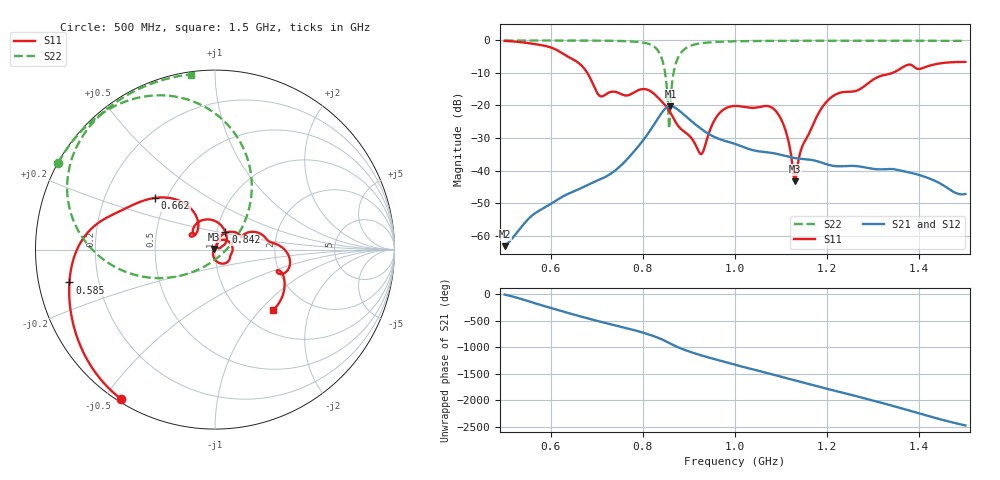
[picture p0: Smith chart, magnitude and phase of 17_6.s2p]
! TOUCHSTONE file generated by CST MICROWAVE STUDIO
! Date and time: Sat Oct 24 11:46:18 2020
! Project name: Scenario_1_Circular_Tissue_out_of_Line.cst
! Parameters = {dy1=-68.544; L_HA=400; MT=2.54; Rad_Dielectric=30; Rad_Lower=7.3; Rad_Upper=30; a_HA=580; a_WG=246; b_HA=500; b_WG=121; c_HA=0; c_WG=187; d_feed=85; dx1=1039; h_feed=15; h_lower=18; h_upper=40}
! Header version: 2018
! Port assignment regex: !\s*Touchstone port\s*([0-9]+)\s*=\s*(CST MWS port|CST DS port)\s*([0-9]+|Zmin|Zmax)\s*\(\"(.*)\"\)(\s*mode\s*([0-9]+))?.*
! Touchstone port assignment:
! Touchstone port 1 = CST MWS port 1 ("")
! Touchstone port 2 = CST MWS port 2 ("")
# GHz S DB R 50
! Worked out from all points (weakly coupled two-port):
!   1001 points, 500 MHz to 1.5 GHz, reference 50 ohm
!   highest |S21| = -20.25 dB at 860 MHz (marker M1); lowest = -63.2 dB at 500 MHz (marker M2)
!   lowest |S11| = -43.3 dB at 1.13 GHz (marker M3), VSWR 1.01, Z = 49.4 + j0.284 ohm
!   |S11| at or under -10 dB: 679.5 MHz to 1.341 GHz (661.9 MHz wide, 65.5 % of centre)
!   |S22| runs from -27.1 to 0.0 dB; largest |S21 - S12| = 1.1e-05
!   S11 on the Smith chart (normalised r, x): 500 MHz: 0.01, -0.55; 585 MHz: 0.09, -0.11; 662 MHz: 0.43, +0.31; 842 MHz: 1.10, +0.22; 1.5 GHz: 1.37, -1.18
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0.5  -0.15 -122.2  -63.24 -2.6  -63.24 -2.6  -0.01 151.1
0.585  -1.60 -167.3  -51.51 142.2  -51.51 142.3  -0.02 145.2
0.662  -7.10 139.3  -45.67 -49.8  -45.67 -49.8  -0.04 138.8
0.667  -7.74 134.9  -45.33 -61.5  -45.33 -61.6  -0.04 138.3
0.708  -17.17 138.2  -42.70 -156.4  -42.70 -156.4  -0.07 133.8
0.789  -15.36 134.4  -32.76 25.8  -32.76 25.8  -0.45 117.2
0.834  -17.72 70.0  -23.70 -103.2  -23.70 -103.2  -3.39 82.2
0.842  -18.91 59.4  -22.04 -133.7  -22.04 -133.7  -5.96 67.6
0.855  -21.11 41.8  -20.38 170.2  -20.38 170.2  -21.13 15.6
0.86  -22.23 35.3  -20.25 148.1  -20.25 148.1  -19.10 -121.9
0.868  -24.32 28.2  -20.56 114.0  -20.56 114.0  -9.05 -153.2
0.878  -26.52 25.8  -21.49 75.0  -21.49 75.0  -4.85 -170.7
0.926  -34.94 39.8  -27.13 -71.0  -27.13 -71.0  -0.87 155.6
0.961  -23.28 52.7  -30.03 -156.4  -30.03 -156.4  -0.45 146.5
1  -20.15 4.3  -31.80 110.8  -31.80 110.8  -0.27 140.2
1.088  -21.62 -68.1  -34.78 -90.0  -34.78 -90.0  -0.13 130.7
1.111  -28.23 -103.3  -35.57 -143.4  -35.57 -143.4  -0.12 128.7
1.13  -43.26 155.2  -36.16 174.3  -36.16 174.3  -0.11 127.1
1.167  -26.65 72.2  -36.76 90.1  -36.76 90.1  -0.10 124.2
1.212  -17.16 45.8  -38.52 -10.3  -38.52 -10.3  -0.09 120.7
1.334  -10.34 8.5  -39.51 72.9  -39.51 72.9  -0.09 111.4
1.5  -6.60 -46.1  -47.21 41.8  -47.21 41.8  -0.13 97.8
